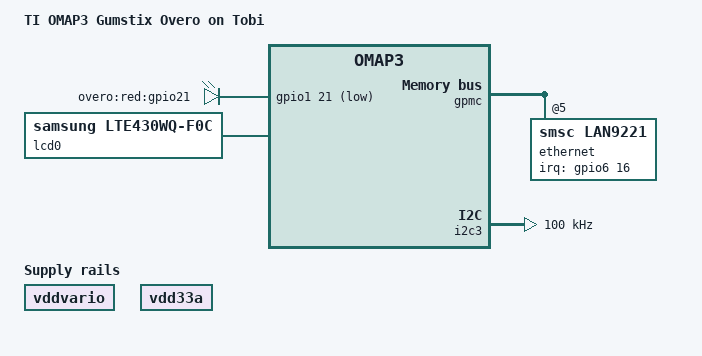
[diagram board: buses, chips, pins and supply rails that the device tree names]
/*
 * Copyright (C) 2012 Florian Vaussard, EPFL Mobots group
 *
 * This program is free software; you can redistribute it and/or modify
 * it under the terms of the GNU General Public License version 2 as
 * published by the Free Software Foundation.
 */

/*
 * Tobi expansion board is manufactured by Gumstix Inc.
 */

#include "omap3-overo.dtsi"

/ {
	model = "TI OMAP3 Gumstix Overo on Tobi";
	compatible = "ti,omap3-tobi", "ti,omap3-overo", "ti,omap3";

	leds {
		compatible = "gpio-leds";
		heartbeat {
			label = "overo:red:gpio21";
			gpios = <&gpio1 21 GPIO_ACTIVE_LOW>;
			linux,default-trigger = "heartbeat";
		};
	};

	vddvario: regulator-vddvario {
		  compatible = "regulator-fixed";
		  regulator-name = "vddvario";
		  regulator-always-on;
	};

	vdd33a: regulator-vdd33a {
		compatible = "regulator-fixed";
		regulator-name = "vdd33a";
		regulator-always-on;
	};
};

&gpmc {
	ranges = <5 0 0x2c000000 0x1000000>;	/* CS5 */

	ethernet@5,0 {
		compatible = "smsc,lan9221", "smsc,lan9115";
		reg = <5 0 0xff>;
		bank-width = <2>;

		gpmc,mux-add-data;
		gpmc,cs-on-ns = <0>;
		gpmc,cs-rd-off-ns = <42>;
		gpmc,cs-wr-off-ns = <36>;
		gpmc,adv-on-ns = <6>;
		gpmc,adv-rd-off-ns = <12>;
		gpmc,adv-wr-off-ns = <12>;
		gpmc,oe-on-ns = <0>;
		gpmc,oe-off-ns = <42>;
		gpmc,we-on-ns = <0>;
		gpmc,we-off-ns = <36>;
		gpmc,rd-cycle-ns = <60>;
		gpmc,wr-cycle-ns = <54>;
		gpmc,access-ns = <36>;
		gpmc,page-burst-access-ns = <0>;
		gpmc,bus-turnaround-ns = <0>;
		gpmc,cycle2cycle-delay-ns = <0>;
		gpmc,wr-data-mux-bus-ns = <18>;
		gpmc,wr-access-ns = <42>;
		gpmc,cycle2cycle-samecsen;
		gpmc,cycle2cycle-diffcsen;

		interrupt-parent = <&gpio6>;
		interrupts = <16 IRQ_TYPE_LEVEL_LOW>;	/* GPIO 176 */
		reg-io-width = <4>;
	};
};

&i2c3 {
	clock-frequency = <100000>;
};

&mmc3 {
	status = "disabled";
};

&dpi {
	vdds_dsi-supply = <&vpll2>;
};

/ {
	aliases {
		display0 = &lcd0;
	};

	lcd0: display@0 {
		compatible = "samsung,lte430wq-f0c", "panel-dpi";
		video-source = <&dpi>;
		data-lines = <24>;

		panel-timing {
			clock-frequency = <9200000>;
			hactive = <480>;
			vactive = <272>;
			hfront-porch = <8>;
			hback-porch = <4>;
			hsync-len = <41>;
			vback-porch = <2>;
			vfront-porch = <4>;
			vsync-len = <10>;

			hsync-active = <0>;
			vsync-active = <0>;
			de-active = <1>;
			pixelclk-active = <1>;
		};
	};
};
